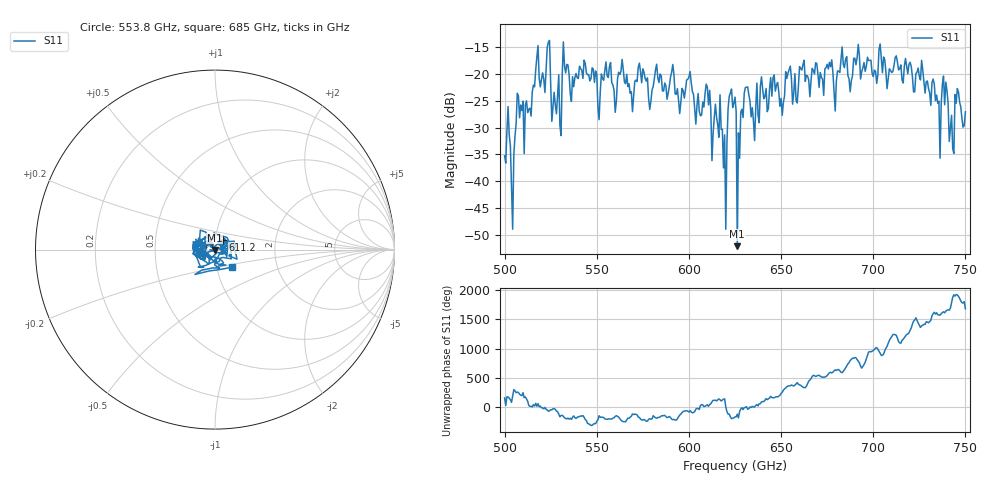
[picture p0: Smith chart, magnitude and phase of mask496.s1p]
!Created with skrf (http://scikit-rf.org).
# GHz S MA R 50.0
!freq magS11 angS11
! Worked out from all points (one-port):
!   401 points, 500 GHz to 750 GHz, reference 50 ohm
!   lowest |S11| = -52.1 dB at 626.2 GHz (marker M1), VSWR 1.00, Z = 49.9 - j0.225 ohm
!   |S11| at or under -10 dB: start of sweep to end of sweep
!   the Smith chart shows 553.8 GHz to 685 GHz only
!   S11 on the Smith chart (normalised r, x): 553.8 GHz: 0.84, -0.02; 611.2 GHz: 1.08, +0.12; 685 GHz: 1.18, -0.24
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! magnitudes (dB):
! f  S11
! 500 GHz  -35.3
! 504.4 GHz  -48.9
! 507.5 GHz  -24.1
! 511.9 GHz  -25.0
! 517.5 GHz  -16.9
! 523.8 GHz  -14.1
! 526.9 GHz  -23.4
! 531.2 GHz  -20.4
! 533.1 GHz  -19.8
! 553.8 GHz  -21.2
! 562.5 GHz  -20.1
! 593.8 GHz  -22.8
! 611.2 GHz  -23.1
! 619.4 GHz  -31.4
! 622.5 GHz  -23.5
! 625 GHz  -24.3
! 626.2 GHz  -52.1
! 631.2 GHz  -22.5
! 635 GHz  -28.7
! 656.2 GHz  -25.6
! 685 GHz  -17.3
! 687.5 GHz  -23.4
! 718.8 GHz  -20.0
! 735 GHz  -25.5
! 738.8 GHz  -25.8
! 742.5 GHz  -27.7
! 745.6 GHz  -22.7
! 750 GHz  -27.1
